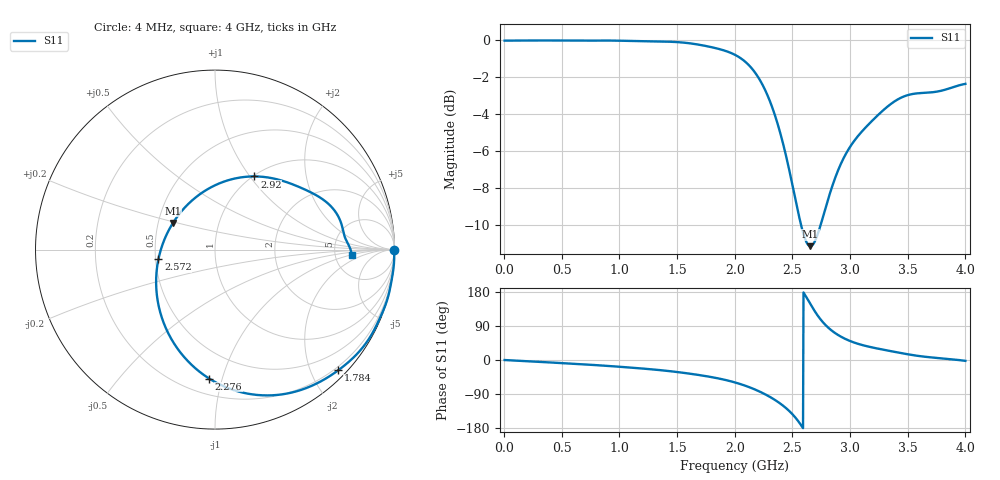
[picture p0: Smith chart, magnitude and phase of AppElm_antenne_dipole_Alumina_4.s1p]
! TOUCHSTONE file generated by CST MICROWAVE STUDIO
! Date and time: Sat May 14 11:42:13 2022
! Project name: AppElm_antenne_dipole_Alumina.cst
! Parameters = {L=29.7; e=0.035; f=2.45e+09; h=1.6; i=0.8; l1=2; lambda=122.449; ls=30; wl=1.7; ws=80}
! Header version: 2018
! Port assignment regex: !\s*Touchstone port\s*([0-9]+)\s*=\s*(CST MWS port|CST DS port)\s*([0-9]+|Zmin|Zmax)\s*\(\"(.*)\"\)(\s*mode\s*([0-9]+))?.*
! Touchstone port assignment:
! Touchstone port 1 = CST MWS port 1 ("")
# GHz S MA R 50
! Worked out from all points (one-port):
!   1000 points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, 4 MHz to 4 GHz, reference 50 ohm
!   lowest |S11| = -11.1 dB at 2.656 GHz (marker M1), VSWR 1.77, Z = 29.9 + j9.61 ohm
!   |S11| at or under -10 dB: 2.575 GHz to 2.744 GHz (169.1 MHz wide, 6.36 % of centre)
!   S11 on the Smith chart (normalised r, x): 4 MHz: open; 1.784 GHz: 0.14, -2.45; 2.276 GHz: 0.30, -0.91; 2.572 GHz: 0.52, -0.06; 2.92 GHz: 1.01, +1.05; 4 GHz: 7.28, -1.04
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0.004  0.9989 -0.1
0.504  0.999 -8.3
1.004  0.9985 -17.9
1.308  0.9938 -25.4
1.504  0.9897 -31.8
1.784  0.9611 -44.4
1.904  0.9403 -51.6
2.004  0.9136 -59.4
2.152  0.837 -74.9
2.216  0.7831 -83.4
2.276  0.7196 -92.5
2.336  0.6441 -103.0
2.4  0.5534 -116.2
2.452  0.476 -128.9
2.504  0.4008 -144.4
2.572  0.3192 -170.6
2.616  0.2869 168.3
2.656  0.2773 147.6
2.72  0.2994 116.9
2.784  0.349 93.2
2.848  0.4053 76.0
2.92  0.4632 61.7
3.004  0.5175 49.6
3.104  0.5676 39.6
3.244  0.6289 29.9
3.504  0.7118 14.9
3.652  0.7215 8.5
4  0.7628 -2.3
